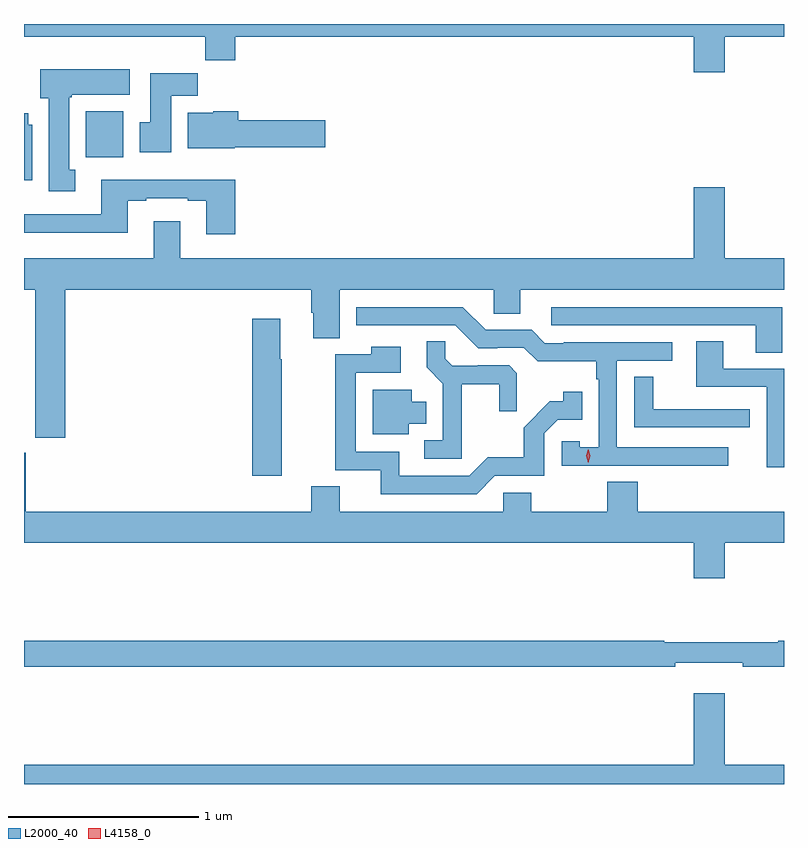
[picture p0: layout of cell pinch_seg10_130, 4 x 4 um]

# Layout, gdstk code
import gdstk
lib = gdstk.Library(unit=1e-6, precision=1e-09)
def R(c, l, rs):  # rectangles x0, y0, x1, y1
    for r in rs: c.add(gdstk.rectangle(r[:2], r[2:], *l))
def P(c, l, *ps):  # polygons
    for p in ps: c.add(gdstk.Polygon(p, *l))
L2000_40 = (2000, 40)
L4158_0 = (4158, 0)

pinch_seg10_130 = lib.new_cell('pinch_seg10_130')
R(pinch_seg10_130, L2000_40, [(761.21,1263.716,761.407,1263.958)])
P(pinch_seg10_130, L2000_40, [(764.572,1264.352),(764.884,1264.352),(764.884,1264.418),(760.884,1264.418),(760.884,1264.352),(761.839,1264.352),(761.839,1264.228),(761.996,1264.228),(761.996,1264.352),(764.408,1264.352),(764.408,1264.164),(764.572,1264.164)],
  [(761.155,1263.65),(761.122,1263.65),(761.122,1264.033),(761.136,1264.033),(761.136,1264.046),(761.44,1264.046),(761.44,1264.18),(760.97,1264.18),(760.97,1264.026),(761.015,1264.026),(761.015,1263.537),(761.155,1263.537)],
  [(761.659,1264.04),(761.798,1264.04),(761.798,1264.159),(761.549,1264.159),(761.549,1263.9),(761.492,1263.9),(761.492,1263.744),(761.659,1263.744)],
  [(761.994,1263.77),(762.469,1263.77),(762.469,1263.912),(762.011,1263.912),(762.011,1263.958),(761.88,1263.958),(761.88,1263.952),(761.747,1263.952),(761.747,1263.764),(761.994,1263.764)],
  [(760.927,1263.888),(760.906,1263.888),(760.906,1263.949),(760.884,1263.949),(760.884,1263.596),(760.927,1263.596)],
  [(761.996,1263.598),(761.291,1263.598),(761.291,1263.417),(760.884,1263.417),(760.884,1263.32),(761.431,1263.32),(761.431,1263.489),(761.527,1263.489),(761.527,1263.501),(761.747,1263.501),(761.747,1263.489),(761.843,1263.489),(761.843,1263.312),(761.996,1263.312)],
  [(761.102,1263.02),(762.395,1263.02),(762.395,1262.898),(762.407,1262.898),(762.407,1262.764),(762.547,1262.764),(762.547,1263.02),(763.356,1263.02),(763.356,1262.893),(763.495,1262.893),(763.495,1263.02),(764.884,1263.02),(764.884,1263.184),(764.572,1263.184),(764.572,1263.559),(764.408,1263.559),(764.408,1263.184),(761.707,1263.184),(761.707,1263.379),(761.567,1263.379),(761.567,1263.184),(760.884,1263.184),(760.884,1263.02),(760.942,1263.02),(760.942,1262.241),(761.102,1262.241)],
  [(764.875,1262.928),(763.659,1262.928),(763.659,1262.832),(764.735,1262.832),(764.735,1262.689),(764.875,1262.689)],
  [(764.59,1262.19),(764.004,1262.19),(764.004,1262.646),(764.296,1262.646),(764.296,1262.742),(763.726,1262.742),(763.726,1262.739),(763.626,1262.739),(763.557,1262.808),(763.314,1262.808),(763.194,1262.928),(762.632,1262.928),(762.632,1262.832),(763.155,1262.832),(763.275,1262.712),(763.376,1262.712),(763.376,1262.715),(763.515,1262.715),(763.588,1262.642),(763.896,1262.642),(763.896,1262.549),(763.908,1262.549),(763.908,1262.191),(763.809,1262.191),(763.809,1262.223),(763.713,1262.223),(763.713,1262.094),(764.197,1262.094),(764.197,1262.092),(764.59,1262.092)],
  [(762.24,1262.653),(762.232,1262.653),(762.232,1262.866),(762.086,1262.866),(762.086,1262.04),(762.24,1262.04)],
  [(764.884,1262.604),(764.563,1262.604),(764.563,1262.747),(764.423,1262.747),(764.423,1262.508),(764.793,1262.508),(764.793,1262.085),(764.884,1262.085)],
  [(763.187,1262.522),(763.384,1262.522),(763.384,1262.379),(763.478,1262.379),(763.478,1262.581),(763.437,1262.622),(763.272,1262.622),(763.272,1262.619),(763.138,1262.619),(763.101,1262.656),(763.101,1262.747),(763.003,1262.747),(763.003,1262.611),(763.089,1262.525),(763.089,1262.226),(762.99,1262.226),(762.99,1262.13),(763.187,1262.13)],
  [(763.362,1262.04),(763.623,1262.04),(763.623,1262.265),(763.692,1262.334),(763.823,1262.334),(763.823,1262.482),(763.722,1262.482),(763.722,1262.432),(763.652,1262.432),(763.515,1262.294),(763.515,1262.139),(763.326,1262.139),(763.227,1262.04),(762.859,1262.04),(762.859,1262.166),(762.63,1262.166),(762.63,1262.583),(762.868,1262.583),(762.868,1262.719),(762.712,1262.719),(762.712,1262.679),(762.522,1262.679),(762.522,1262.07),(762.761,1262.07),(762.761,1261.944),(763.266,1261.944)],
  [(764.704,1262.39),(764.591,1262.39),(764.591,1262.391),(764.196,1262.391),(764.196,1262.561),(764.097,1262.561),(764.097,1262.295),(764.704,1262.295)],
  [(762.91,1262.315),(763,1262.315),(763,1262.431),(762.925,1262.431),(762.925,1262.494),(762.719,1262.494),(762.719,1262.258),(762.91,1262.258)],
  [(762.395,1261.985),(762.395,1261.852),(760.894,1261.852),(760.894,1262.161),(760.884,1262.161),(760.884,1261.688),(764.408,1261.688),(764.408,1261.5),(764.572,1261.5),(764.572,1261.688),(764.884,1261.688),(764.884,1261.852),(764.114,1261.852),(764.114,1262.009),(763.954,1262.009),(763.954,1261.852),(763.554,1261.852),(763.554,1261.95),(763.407,1261.95),(763.407,1261.852),(762.547,1261.852),(762.547,1261.985)],
  [(764.312,1261.055),(764.668,1261.055),(764.668,1261.036),(764.884,1261.036),(764.884,1261.172),(764.854,1261.172),(764.854,1261.165),(764.254,1261.165),(764.254,1261.172),(760.884,1261.172),(760.884,1261.036),(764.312,1261.036)],
  [(764.884,1260.52),(764.572,1260.52),(764.572,1260.895),(764.408,1260.895),(764.408,1260.52),(760.884,1260.52),(760.884,1260.418),(764.884,1260.418)])
P(pinch_seg10_130, L4158_0, [(763.853,1262.109),(763.853,1262.109),(763.843,1262.145),(763.853,1262.181),(763.853,1262.181),(763.853,1262.181),(763.863,1262.145),(763.853,1262.109)])

lib.write_gds('pinch_seg10_130.gds')
